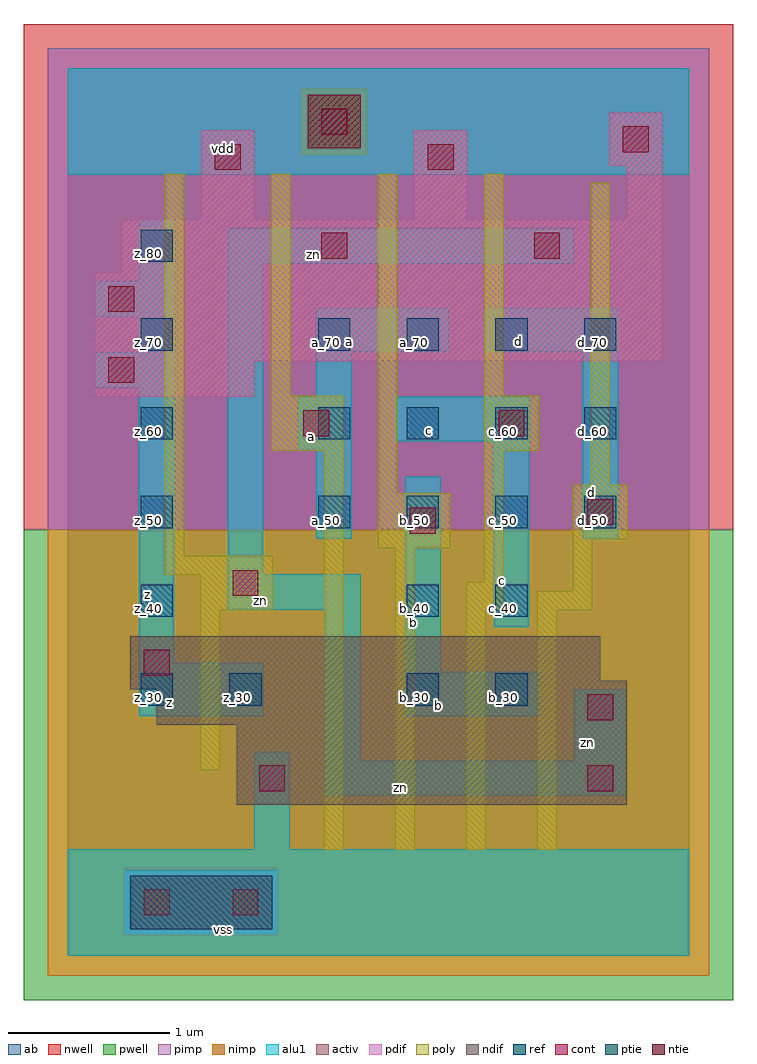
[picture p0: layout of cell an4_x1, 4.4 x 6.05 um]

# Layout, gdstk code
import gdstk
lib = gdstk.Library(unit=1e-6, precision=2.5e-09)
def R(c, l, rs):  # rectangles x0, y0, x1, y1
    for r in rs: c.add(gdstk.rectangle(r[:2], r[2:], *l))
def A(c, l, x, y, w, h, nx, ny, dx, dy):  # array of equal rectangles
    R(c, l, [(x+i*dx, y+j*dy, x+i*dx+w, y+j*dy+h) for i in range(nx) for j in range(ny)])
ndif = (3, 0)
pdif = (4, 0)
ntie = (5, 0)
ptie = (6, 0)
ref = (24, 0)
cont = (25, 0)
pwell = (41, 0)
nwell = (42, 0)
activ = (43, 0)
pimp = (44, 0)
nimp = (45, 0)
poly = (46, 0)
alu1 = (49, 0)
ab = (63, 0)

an4_x1 = lib.new_cell('an4_x1')
R(an4_x1, ndif, [(1.045,0.935,3.465,1.43), (0.55,1.43,3.465,1.65), (0.385,1.65,3.465,1.705), (0.385,1.705,3.3,1.98)])
R(an4_x1, pdif, [(0.165,3.465,1.155,3.685), (0.165,3.685,3.685,4.235), (0.33,4.235,3.685,4.565), (0.825,4.565,1.155,5.115), (2.145,4.565,2.475,5.115), (3.465,4.565,3.685,4.895), (3.355,4.895,3.685,5.225)])
R(an4_x1, ntie, [(1.485,5.005,1.815,5.335)])
R(an4_x1, ptie, [(0.385,0.165,1.265,0.495)])
A(an4_x1, ref, 0.45, 1.55, 0.2, 0.2, 1, 6, 0, 0.55)
A(an4_x1, ref, 1.55, 2.65, 0.2, 0.2, 4, 3, 0.55, 0.55)
R(an4_x1, ref, [(1,1.55,1.2,1.75), (2.1,1.55,2.3,1.75), (2.65,1.55,2.85,1.75), (2.1,2.1,2.3,2.3), (2.65,2.1,2.85,2.3)])
R(an4_x1, cont, [(0.47,0.25,0.63,0.41), (1.02,0.25,1.18,0.41), (1.185,1.02,1.345,1.18), (3.22,1.02,3.38,1.18), (3.22,1.46,3.38,1.62), (0.47,1.735,0.63,1.895), (1.02,2.23,1.18,2.39), (2.12,2.615,2.28,2.775), (3.22,2.67,3.38,2.83), (1.46,3.22,1.62,3.38), (2.67,3.22,2.83,3.38), (0.25,3.55,0.41,3.71), (0.25,3.99,0.41,4.15), (1.57,4.32,1.73,4.48), (2.89,4.32,3.05,4.48), (0.91,4.87,1.07,5.03), (2.23,4.87,2.39,5.03), (3.44,4.98,3.6,5.14), (1.57,5.09,1.73,5.25)])
R(an4_x1, pwell, [(-0.275,-0.275,4.125,2.64)])
R(an4_x1, nwell, [(-0.275,2.64,4.125,5.775)])
R(an4_x1, activ, [(0.385,0.165,1.265,0.495), (1.045,0.935,3.465,1.43), (0.55,1.43,3.465,1.65), (0.385,1.65,3.465,1.705), (0.385,1.705,3.3,1.98), (0.165,3.465,1.155,3.685), (0.165,3.685,3.685,4.235), (0.33,4.235,3.685,4.565), (0.825,4.565,1.155,5.115), (2.145,4.565,2.475,5.115), (3.465,4.565,3.685,4.895), (3.355,4.895,3.685,5.225), (1.485,5.005,1.815,5.335)])
R(an4_x1, pimp, [(0.345,0.125,1.305,0.535), (-0.125,2.64,3.975,4.965), (-0.125,4.965,1.445,5.375), (1.855,4.965,3.975,5.375), (-0.125,5.375,3.975,5.625)])
R(an4_x1, nimp, [(-0.125,-0.125,3.975,0.125), (-0.125,0.125,0.345,0.535), (1.305,0.125,3.975,0.535), (-0.125,0.535,3.975,2.64), (1.445,4.965,1.855,5.375)])
R(an4_x1, poly, [(1.59,0.655,1.71,3.13), (2.03,0.655,2.15,2.525), (2.47,0.655,2.59,2.14), (2.91,0.655,3.03,2.14), (0.82,1.15,0.94,2.14), (0.82,2.14,1.27,2.36), (2.47,2.14,2.7,2.315), (2.91,2.14,3.25,2.26), (3.13,2.26,3.25,2.58), (2.58,2.315,2.7,3.13), (0.6,2.36,1.27,2.48), (0.6,2.48,0.72,4.845), (1.92,2.525,2.37,2.865), (3.13,2.58,3.47,2.92), (1.92,2.865,2.04,4.845), (3.24,2.92,3.36,4.79), (1.26,3.13,1.71,3.47), (2.58,3.13,2.92,3.47), (1.26,3.47,1.38,4.845), (2.58,3.47,2.7,4.845)])
R(an4_x1, alu1, [(0,0,3.85,0.66), (1.155,0.66,1.375,1.265), (1.595,0.99,3.465,1.21), (1.595,1.21,1.815,2.145), (3.135,1.21,3.465,1.65), (0.44,1.485,1.21,1.815), (2.09,1.485,2.915,1.76), (2.09,1.76,2.31,2.97), (0.44,1.815,0.66,3.52), (2.64,2.035,2.86,3.19), (0.99,2.145,1.815,2.365), (0.99,2.365,1.21,4.29), (1.54,2.585,1.76,3.135), (3.19,2.585,3.41,3.74), (1.43,3.135,1.76,3.465), (2.035,3.19,2.86,3.465), (1.54,3.465,1.76,3.74), (0.165,3.52,0.66,3.74), (0.44,3.74,0.66,3.96), (1.54,3.74,2.365,4.015), (2.585,3.74,3.41,4.015), (0.165,3.96,0.66,4.18), (0.44,4.18,0.66,4.565), (0.99,4.29,3.135,4.51), (0,4.84,3.85,5.5)])
R(an4_x1, ab, [(0,0,3.85,5.5)])
an4_x1.add(gdstk.Label('vss', (0.9625,0.165), layer=49, texttype=0))
an4_x1.add(gdstk.Label('zn', (2.0625,1.045), layer=49, texttype=0))
an4_x1.add(gdstk.Label('zn', (3.2175,1.32), layer=49, texttype=0))
an4_x1.add(gdstk.Label('b', (2.295,1.5525), layer=49, texttype=0))
an4_x1.add(gdstk.Label('d', (3.245,2.8725), layer=49, texttype=0))
an4_x1.add(gdstk.Label('c', (2.695,2.3225), layer=49, texttype=0))
an4_x1.add(gdstk.Label('b', (2.145,2.0625), layer=49, texttype=0))
an4_x1.add(gdstk.Label('z', (0.6325,1.5675), layer=49, texttype=0))
an4_x1.add(gdstk.Label('zn', (1.195,2.2), layer=49, texttype=0))
an4_x1.add(gdstk.Label('c', (2.24,3.2575), layer=49, texttype=0))
an4_x1.add(gdstk.Label('a', (1.5125,3.2175), layer=49, texttype=0))
an4_x1.add(gdstk.Label('d', (2.79,3.8075), layer=49, texttype=0))
an4_x1.add(gdstk.Label('a', (1.745,3.8075), layer=49, texttype=0))
an4_x1.add(gdstk.Label('zn', (1.525,4.345), layer=49, texttype=0))
an4_x1.add(gdstk.Label('z', (0.495,2.24), layer=49, texttype=0))
an4_x1.add(gdstk.Label('vdd', (0.9625,5.005), layer=49, texttype=0))
an4_x1.add(gdstk.Label('z_80', (0.5,4.35), layer=24, texttype=0))
an4_x1.add(gdstk.Label('a_50', (1.6,2.7), layer=24, texttype=0))
an4_x1.add(gdstk.Label('a_60', (1.6,3.25), layer=24, texttype=0))
an4_x1.add(gdstk.Label('a_70', (1.6,3.8), layer=24, texttype=0))
an4_x1.add(gdstk.Label('a_70', (2.15,3.8), layer=24, texttype=0))
an4_x1.add(gdstk.Label('c_40', (2.7,2.15), layer=24, texttype=0))
an4_x1.add(gdstk.Label('c_50', (2.7,2.7), layer=24, texttype=0))
an4_x1.add(gdstk.Label('c_60', (2.7,3.25), layer=24, texttype=0))
an4_x1.add(gdstk.Label('c_60', (2.15,3.25), layer=24, texttype=0))
an4_x1.add(gdstk.Label('d_50', (3.25,2.7), layer=24, texttype=0))
an4_x1.add(gdstk.Label('d_60', (3.25,3.25), layer=24, texttype=0))
an4_x1.add(gdstk.Label('d_70', (3.25,3.8), layer=24, texttype=0))
an4_x1.add(gdstk.Label('d_70', (2.7,3.8), layer=24, texttype=0))
an4_x1.add(gdstk.Label('b_30', (2.7,1.6), layer=24, texttype=0))
an4_x1.add(gdstk.Label('b_30', (2.15,1.6), layer=24, texttype=0))
an4_x1.add(gdstk.Label('b_40', (2.15,2.15), layer=24, texttype=0))
an4_x1.add(gdstk.Label('z_50', (0.5,2.7), layer=24, texttype=0))
an4_x1.add(gdstk.Label('z_60', (0.5,3.25), layer=24, texttype=0))
an4_x1.add(gdstk.Label('z_40', (0.5,2.15), layer=24, texttype=0))
an4_x1.add(gdstk.Label('z_70', (0.5,3.8), layer=24, texttype=0))
an4_x1.add(gdstk.Label('z_30', (0.5,1.6), layer=24, texttype=0))
an4_x1.add(gdstk.Label('b_50', (2.15,2.7), layer=24, texttype=0))
an4_x1.add(gdstk.Label('z_30', (1.05,1.6), layer=24, texttype=0))

lib.write_gds('an4_x1.gds')
